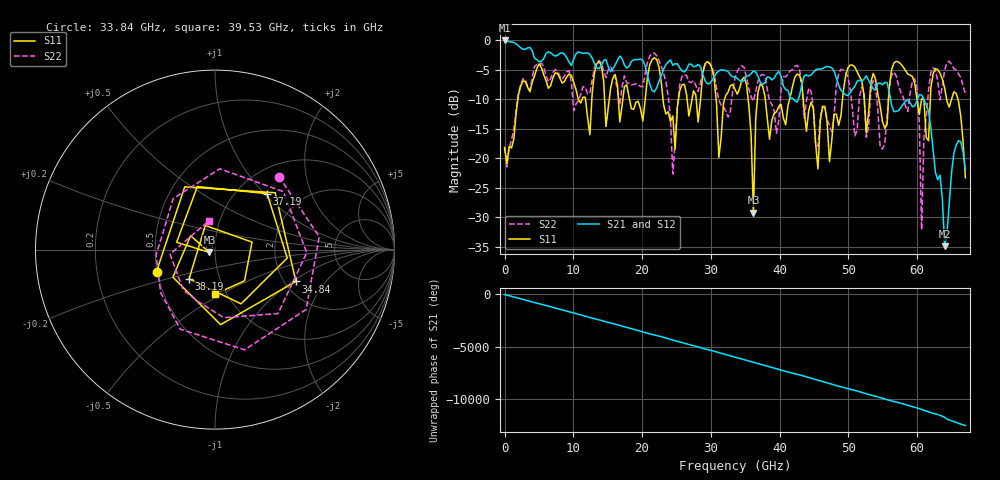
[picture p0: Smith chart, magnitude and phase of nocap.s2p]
!Keysight Technologies,N5247B,US55470547,A.17.35.10
!Date: Thursday, May 02, 2024 13:50:43
!Correction: S11(C  2-Port  )
!S21(C  2-Port  )
!S12(C  2-Port  )
!S22(C  2-Port  )
!S2P File: Measurements: S11, S21, S12, S22:
# Hz S  dB  R 50
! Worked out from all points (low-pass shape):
!   201 points, 10 MHz to 67 GHz, reference 50 ohm
!   highest |S21| = -0.08 dB at 10 MHz (marker M1); lowest = -34.9 dB at 63.99 GHz (marker M2)
!   |S21| within 3 dB of the highest: start of sweep to 4.361 GHz; 5.724 GHz to 9.078 GHz (3.354 GHz wide, 45.3 % of centre) (the widest 2 of 4)
!   lowest |S11| = -29.2 dB at 36.18 GHz (marker M3), VSWR 1.07, Z = 47 - j1.47 ohm
!   |S11| at or under -10 dB: 18.16 GHz to 20.46 GHz (2.295 GHz wide, 11.9 % of centre); 37.9 GHz to 41.45 GHz (3.545 GHz wide, 8.93 % of centre); 43.42 GHz to 49.14 GHz (5.717 GHz wide, 12.4 % of centre) (the widest 3 of 19)
!   |S22| runs from -32.1 to -2.2 dB; largest |S21 - S12| = 0.0026
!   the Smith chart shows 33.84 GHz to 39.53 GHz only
!   S11 on the Smith chart (normalised r, x): 33.84 GHz: 0.50, -0.14; 34.84 GHz: 2.30, -1.06; 37.19 GHz: 1.36, +1.04; 38.19 GHz: 0.71, -0.24; 39.53 GHz: 0.89, -0.47
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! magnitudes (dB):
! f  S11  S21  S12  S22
! 10 MHz  -18.2  -0.1  -0.1  -18.1
! 11.4 GHz  -9.7  -2.3  -2.3  -7.9
! 22.45 GHz  -4.6  -7.0  -7.0  -3.5
! 24.46 GHz  -12.9  -4.3  -4.3  -22.7
! 25.8 GHz  -7.6  -5.2  -5.2  -6.1
! 29.82 GHz  -3.9  -7.4  -7.4  -3.9
! 31.16 GHz  -19.9  -5.2  -5.2  -10.2
! 33.51 GHz  -8.4  -6.2  -6.2  -6.4
! 33.84 GHz  -9.2  -6.5  -6.5  -5.3
! 34.84 GHz  -6.3  -6.8  -6.8  -4.7
! 36.18 GHz  -29.2  -5.2  -5.2  -10.3
! 37.19 GHz  -7.4  -7.2  -7.1  -6.0
! 38.19 GHz  -13.2  -6.3  -6.2  -8.3
! 39.53 GHz  -12.1  -5.8  -5.8  -15.8
! 44.89 GHz  -11.6  -5.5  -5.5  -11.3
! 45.56 GHz  -21.8  -4.9  -4.9  -18.0
! 55.95 GHz  -7.8  -8.9  -8.9  -7.9
! 59.97 GHz  -10.1  -10.2  -10.2  -8.2
! 60.64 GHz  -10.0  -9.3  -9.3  -32.1
! 61.98 GHz  -8.1  -14.8  -14.8  -5.5
! 63.99 GHz  -8.2  -34.9  -34.7  -5.1
! 67 GHz  -23.3  -21.8  -21.8  -9.1
